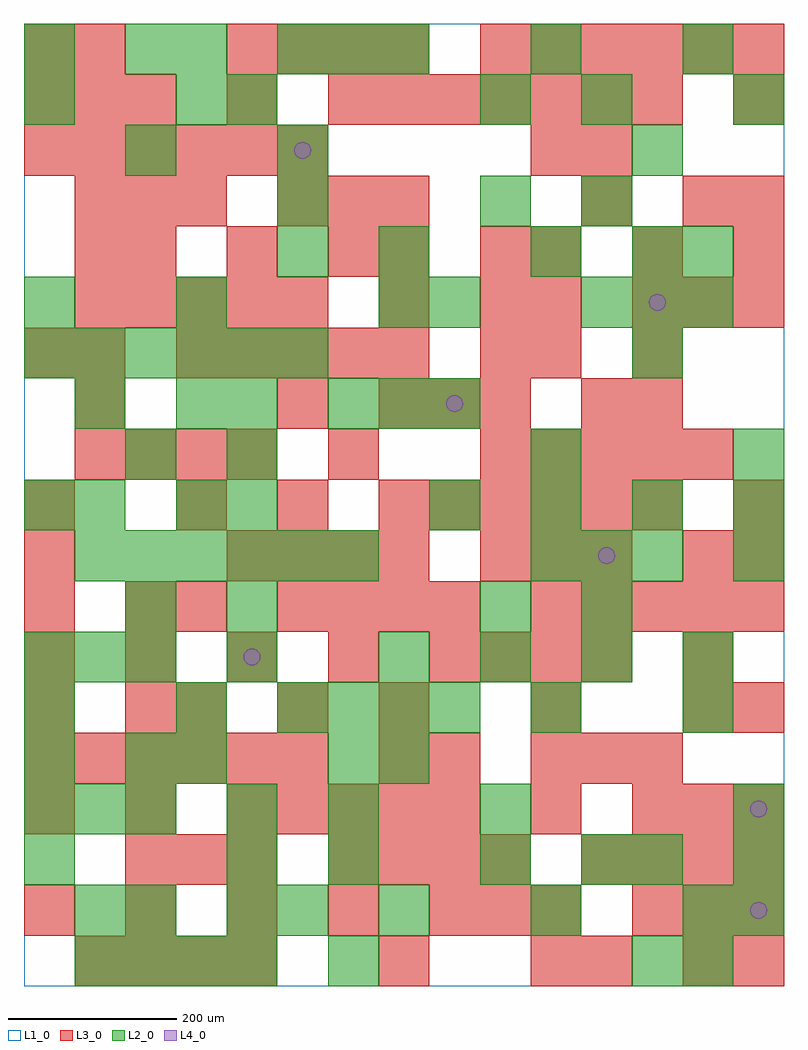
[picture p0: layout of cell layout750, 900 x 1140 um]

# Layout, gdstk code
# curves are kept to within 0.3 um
import gdstk
lib = gdstk.Library(unit=1e-6, precision=1e-09)
def R(c, l, rs):  # rectangles x0, y0, x1, y1
    for r in rs: c.add(gdstk.rectangle(r[:2], r[2:], *l))
def A(c, l, x, y, w, h, nx, ny, dx, dy):  # array of equal rectangles
    R(c, l, [(x+i*dx, y+j*dy, x+i*dx+w, y+j*dy+h) for i in range(nx) for j in range(ny)])
def P(c, l, *ps):  # polygons
    for p in ps: c.add(gdstk.Polygon(p, *l))
L1_0 = (1, 0)
L2_0 = (2, 0)
L3_0 = (3, 0)
L4_0 = (4, 0)

layout750 = lib.new_cell('layout750')
R(layout750, L1_0, [(0,0,900,1140)])
A(layout750, L2_0, 60, 0, 60, 60, 4, 1, 60, 0)
A(layout750, L2_0, 120, 60, 60, 60, 1, 4, 0, 180)
A(layout750, L2_0, 240, 60, 60, 60, 1, 3, 0, 60)
A(layout750, L2_0, 420, 60, 60, 60, 3, 1, 180, 0)
A(layout750, L2_0, 840, 60, 60, 60, 1, 3, 0, 60)
A(layout750, L2_0, 360, 120, 60, 60, 1, 3, 0, 60)
A(layout750, L2_0, 0, 180, 60, 60, 3, 2, 60, 180)
A(layout750, L2_0, 0, 300, 60, 60, 1, 4, 0, 240)
A(layout750, L2_0, 300, 300, 60, 60, 4, 1, 60, 0)
A(layout750, L2_0, 420, 360, 60, 60, 4, 1, 120, 0)
A(layout750, L2_0, 60, 480, 60, 60, 6, 1, 60, 0)
A(layout750, L2_0, 600, 480, 60, 60, 3, 1, 60, 0)
A(layout750, L2_0, 180, 540, 60, 60, 1, 3, 0, 120)
A(layout750, L2_0, 240, 540, 60, 60, 1, 3, 0, 60)
A(layout750, L2_0, 480, 540, 60, 60, 4, 1, 120, 0)
A(layout750, L2_0, 600, 600, 60, 60, 1, 3, 0, 240)
A(layout750, L2_0, 360, 660, 60, 60, 3, 1, 60, 0)
A(layout750, L2_0, 0, 720, 60, 60, 6, 1, 60, 0)
A(layout750, L2_0, 720, 720, 60, 60, 1, 3, 0, 120)
A(layout750, L2_0, 660, 780, 60, 60, 3, 1, 60, 0)
A(layout750, L2_0, 300, 840, 60, 60, 1, 3, 0, 60)
A(layout750, L2_0, 300, 1080, 60, 60, 3, 1, 60, 0)
R(layout750, L2_0, [(360,0,420,60), (720,0,780,60), (780,0,840,60), (60,60,120,120), (300,60,360,120), (0,120,60,180), (540,120,600,180), (660,120,720,180), (720,120,780,180), (540,180,600,240), (0,240,60,300), (180,240,240,300), (420,240,480,300), (180,300,240,360), (600,300,660,360), (780,300,840,360), (240,360,300,420), (240,420,300,480), (540,420,600,480), (660,420,720,480), (840,480,900,540), (60,540,120,600), (840,600,900,660), (60,660,120,720), (420,780,480,840), (480,780,540,840), (420,840,480,900), (780,840,840,900), (540,900,600,960), (660,900,720,960), (120,960,180,1020), (180,1020,240,1080), (240,1020,300,1080), (540,1020,600,1080), (660,1020,720,1080), (840,1020,900,1080), (0,1080,60,1140), (120,1080,180,1140), (180,1080,240,1140), (780,1080,840,1140)])
A(layout750, L3_0, 60, 0, 60, 60, 4, 2, 60, 600)
A(layout750, L3_0, 0, 60, 60, 60, 5, 2, 120, 300)
A(layout750, L3_0, 600, 60, 60, 60, 1, 3, 0, 120)
A(layout750, L3_0, 720, 60, 60, 60, 3, 2, 60, 120)
A(layout750, L3_0, 120, 120, 60, 60, 3, 1, 60, 0)
A(layout750, L3_0, 360, 120, 60, 60, 4, 1, 60, 0)
A(layout750, L3_0, 660, 120, 60, 60, 4, 1, 60, 0)
A(layout750, L3_0, 0, 180, 60, 60, 3, 1, 120, 0)
A(layout750, L3_0, 300, 180, 60, 60, 4, 2, 60, 240)
A(layout750, L3_0, 0, 240, 60, 60, 6, 2, 60, 720)
A(layout750, L3_0, 600, 240, 60, 60, 3, 1, 60, 0)
A(layout750, L3_0, 180, 300, 60, 60, 3, 2, 120, 240)
A(layout750, L3_0, 540, 360, 60, 60, 3, 2, 60, 120)
A(layout750, L3_0, 0, 420, 60, 60, 1, 3, 0, 60)
A(layout750, L3_0, 600, 420, 60, 60, 5, 1, 60, 0)
A(layout750, L3_0, 240, 480, 60, 60, 4, 2, 60, 600)
A(layout750, L3_0, 480, 540, 60, 60, 5, 1, 60, 0)
A(layout750, L3_0, 540, 600, 60, 60, 5, 1, 60, 0)
A(layout750, L3_0, 420, 660, 60, 60, 3, 1, 60, 0)
A(layout750, L3_0, 180, 720, 60, 60, 5, 1, 60, 0)
A(layout750, L3_0, 540, 720, 60, 60, 1, 3, 0, 60)
A(layout750, L3_0, 60, 780, 60, 60, 5, 1, 60, 0)
A(layout750, L3_0, 720, 780, 60, 60, 3, 1, 60, 0)
A(layout750, L3_0, 120, 840, 60, 60, 3, 1, 120, 0)
A(layout750, L3_0, 600, 840, 60, 60, 3, 1, 120, 0)
A(layout750, L3_0, 60, 900, 60, 60, 3, 1, 60, 0)
A(layout750, L3_0, 300, 900, 60, 60, 3, 1, 60, 0)
A(layout750, L3_0, 0, 1020, 60, 60, 3, 1, 60, 0)
A(layout750, L3_0, 360, 1020, 60, 60, 7, 1, 60, 0)
A(layout750, L3_0, 540, 1080, 60, 60, 6, 1, 60, 0)
R(layout750, L3_0, [(420,0,480,60), (600,0,660,60), (660,0,720,60), (780,0,840,60), (840,0,900,60), (540,60,600,120), (420,240,480,300), (480,240,540,300), (0,300,60,360), (120,300,180,360), (780,300,840,360), (840,300,900,360), (780,360,840,420), (120,420,180,480), (180,420,240,480), (780,480,840,540), (840,480,900,540), (840,540,900,600), (360,600,420,660), (60,660,120,720), (300,660,360,720), (660,660,720,720), (720,660,780,720), (0,720,60,780), (60,720,120,780), (600,720,660,780), (720,720,780,780), (420,780,480,840), (600,780,660,840), (60,840,120,900), (420,840,480,900), (660,900,720,960), (780,900,840,960), (840,900,900,960), (600,960,660,1020), (660,960,720,1020), (240,1020,300,1080), (840,1020,900,1080), (0,1080,60,1140), (60,1080,120,1140)])
P(layout750, L4_0, [(280,390),(279.239,393.827),(277.071,397.071),(273.827,399.239),(270,400),(266.173,399.239),(262.929,397.071),(260.761,393.827),(260,390),(260.761,386.173),(262.929,382.929),(266.173,380.761),(270,380),(273.827,380.761),(277.071,382.929),(279.239,386.173)],
  [(340,990),(339.239,993.827),(337.071,997.071),(333.827,999.239),(330,1000),(326.173,999.239),(322.929,997.071),(320.761,993.827),(320,990),(320.761,986.173),(322.929,982.929),(326.173,980.761),(330,980),(333.827,980.761),(337.071,982.929),(339.239,986.173)],
  [(520,690),(519.239,693.827),(517.071,697.071),(513.827,699.239),(510,700),(506.173,699.239),(502.929,697.071),(500.761,693.827),(500,690),(500.761,686.173),(502.929,682.929),(506.173,680.761),(510,680),(513.827,680.761),(517.071,682.929),(519.239,686.173)],
  [(700,510),(699.239,513.827),(697.071,517.071),(693.827,519.239),(690,520),(686.173,519.239),(682.929,517.071),(680.761,513.827),(680,510),(680.761,506.173),(682.929,502.929),(686.173,500.761),(690,500),(693.827,500.761),(697.071,502.929),(699.239,506.173)],
  [(760,810),(759.239,813.827),(757.071,817.071),(753.827,819.239),(750,820),(746.173,819.239),(742.929,817.071),(740.761,813.827),(740,810),(740.761,806.173),(742.929,802.929),(746.173,800.761),(750,800),(753.827,800.761),(757.071,802.929),(759.239,806.173)],
  [(880,90),(879.239,93.827),(877.071,97.071),(873.827,99.239),(870,100),(866.173,99.239),(862.929,97.071),(860.761,93.827),(860,90),(860.761,86.173),(862.929,82.929),(866.173,80.761),(870,80),(873.827,80.761),(877.071,82.929),(879.239,86.173)],
  [(880,210),(879.239,213.827),(877.071,217.071),(873.827,219.239),(870,220),(866.173,219.239),(862.929,217.071),(860.761,213.827),(860,210),(860.761,206.173),(862.929,202.929),(866.173,200.761),(870,200),(873.827,200.761),(877.071,202.929),(879.239,206.173)])

lib.write_gds('layout750.gds')
